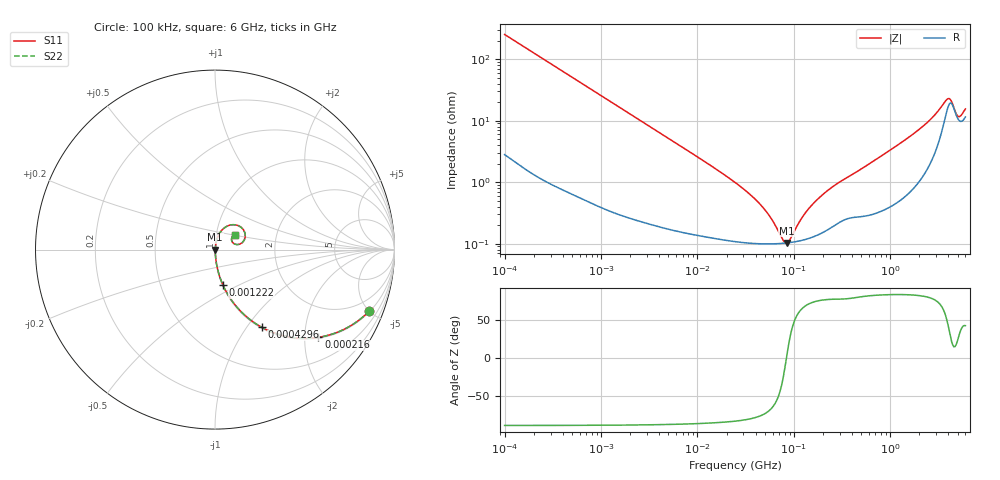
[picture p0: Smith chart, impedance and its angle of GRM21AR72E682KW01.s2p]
!Murata Part Number: GRM21AR72E682KW01
!These Parameters are Measured in Series Mode Connection
!Data Generated on Mar 30, 2021
!  o--ll--o
!Port1  Port2
!  o------o
!Operation Temp=25[degC], DC Bias Voltage=0[V]
!Freq. Start=100[kHz] Stop=6[GHz] 401[Steps]
# Hz S RI R 50
!Freq.(Hz) S11(Real) S11(Imag) S21(Real) S21(Imag) S12(Real) S12(Imag) S22(Real) S22(Imag)
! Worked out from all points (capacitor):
!   401 points, 100 kHz to 6 GHz, reference 50 ohm
!   read as one part in series: C = 6.32 nF near 105.7 kHz
!   lowest |Z| = 103 mohm at 84.45 MHz (marker M1)
!   series resonance near 83.79 MHz, so ESL is about 570 pH
!   S11 on the Smith chart (normalised r, x): 100 kHz: 1.06, -5.03; 216 kHz: 1.02, -2.34; 429.6 kHz: 1.01, -1.18; 1.222 MHz: 1.01, -0.42; 6 GHz: 1.23, +0.21
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100000  0.8606 -0.3409  0.1394 0.3409  0.1394 0.3409  0.8606 -0.3409
142985  0.754 -0.4254  0.246 0.4254  0.246 0.4254  0.754 -0.4254
216008  0.5766 -0.4889  0.4234 0.4889  0.4234 0.4889  0.5766 -0.4889
429640  0.2606 -0.433  0.7394 0.433  0.7394 0.433  0.2606 -0.433
631452  0.1426 -0.3431  0.8574 0.3431  0.8574 0.3431  0.1426 -0.3431
1221882  0.0448 -0.1988  0.9552 0.1988  0.9552 0.1988  0.0448 -0.1988
3987316  0.00599 -0.064  0.994 0.064  0.994 0.064  0.00599 -0.064
2.517799e7  0.00116 -0.00951  0.9988 0.00951  0.9988 0.00951  0.00116 -0.00951
4.739851e7  0.001 -0.00379  0.999 0.00379  0.999 0.00379  0.001 -0.00379
5.906466e7  0.000995 -0.00225  0.999 0.00225  0.999 0.00225  0.000995 -0.00225
7.776452e7  0.00101 -0.000472  0.999 0.000472  0.999 0.000472  0.00101 -0.000472
8.44535e7  0.00103 5e-05  0.999 -5e-05  0.999 -5e-05  0.00103 5e-05
9.171783e7  0.00104 0.000572  0.999 -0.000572  0.999 -0.000572  0.00104 0.000572
1.241232e8  0.00115 0.00254  0.9989 -0.00254  0.9989 -0.00254  0.00115 0.00254
1.546735e8  0.00128 0.00409  0.9987 -0.00409  0.9987 -0.00409  0.00128 0.00409
2.608424e8  0.00202 0.00848  0.998 -0.00848  0.998 -0.00848  0.00202 0.00848
9.76689e8  0.0049 0.032  0.9951 -0.032  0.9951 -0.032  0.0049 0.032
2.628996e9  0.0306 0.0985  0.9694 -0.0985  0.9694 -0.0985  0.0306 0.0985
3.863894e9  0.1447 0.1252  0.8553 -0.1252  0.8553 -0.1252  0.1447 0.1252
4.19625e9  0.1689 0.0722  0.8311 -0.0722  0.8311 -0.0722  0.1689 0.0722
5.087202e9  0.0958 0.0431  0.9042 -0.0431  0.9042 -0.0431  0.0958 0.0431
6e9  0.1106 0.083  0.8894 -0.083  0.8894 -0.083  0.1106 0.083
